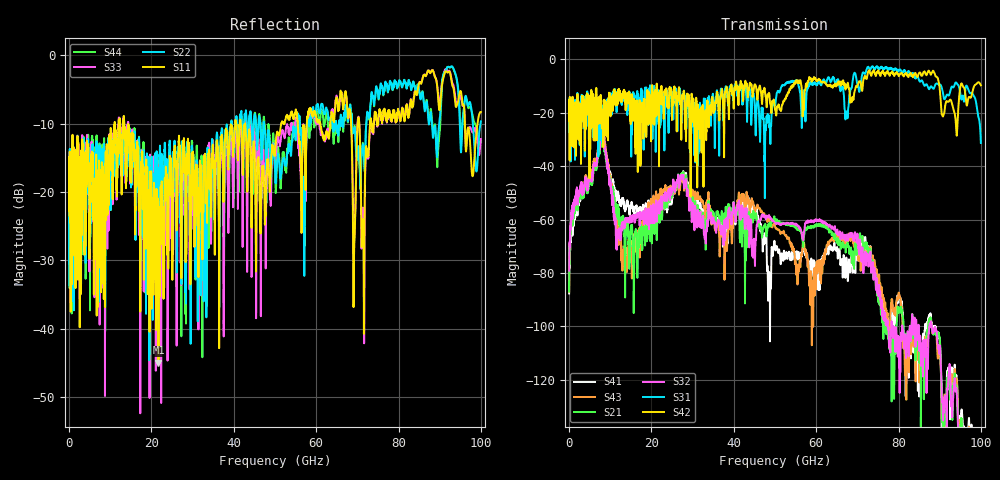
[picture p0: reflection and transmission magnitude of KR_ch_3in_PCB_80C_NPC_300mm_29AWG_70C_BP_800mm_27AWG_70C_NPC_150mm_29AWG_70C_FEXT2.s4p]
# Hz S RI R 45
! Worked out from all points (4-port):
!   4000 points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, 25 MHz to 100 GHz, reference 45 ohm
!   strongest paths, dB at 25 MHz, 25.02 GHz, 50.02 GHz, 75.03 GHz, 100 GHz:
!     S42: -20.7, -20.7, -18.8, -4.2, -9.7
!     S31: -20.6, -14.0, -17.0, -3.0, -31.3
!     S32: -79.1, -49.3, -61.3, -85.7, -155.2
!     S21: -86.9, -50.5, -60.1, -87.3, -157.5
!     S43: -87.1, -48.7, -62.6, -81.8, -149.2
!     S41: -87.7, -52.4, -69.9, -83.4, -149.2
!   lowest |S11| = -45.0 dB at 21.73 GHz (marker M1), VSWR 1.01, Z = 44.8 + j0.478 ohm
!   |S11| at or under -10 dB: start of sweep to 11.1 GHz; 13.4 GHz to 40.37 GHz (26.97 GHz wide, 100 % of centre); 42.78 GHz to 51.51 GHz (8.731 GHz wide, 18.5 % of centre) (the widest 3 of 23)
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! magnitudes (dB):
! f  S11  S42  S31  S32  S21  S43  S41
! 25 MHz  -16.6  -20.7  -20.6  -79.1  -86.9  -87.1  -87.7
! 8 GHz  -16.5  -25.6  -24.5  -27.7  -29.6  -26.5  -28.3
! 13.22 GHz  -9.5  -12.1  -13.5  -61.6  -60.0  -72.9  -53.3
! 21.73 GHz  -45.0  -14.0  -18.2  -53.1  -56.2  -50.5  -53.9
! 27.5 GHz  -18.5  -13.4  -19.0  -43.2  -42.5  -44.5  -42.6
! 76.92 GHz  -9.4  -5.0  -2.8  -98.9  -102.3  -93.4  -96.0
! 100 GHz  -8.3  -9.7  -31.3  -155.2  -157.5  -149.2  -149.2
